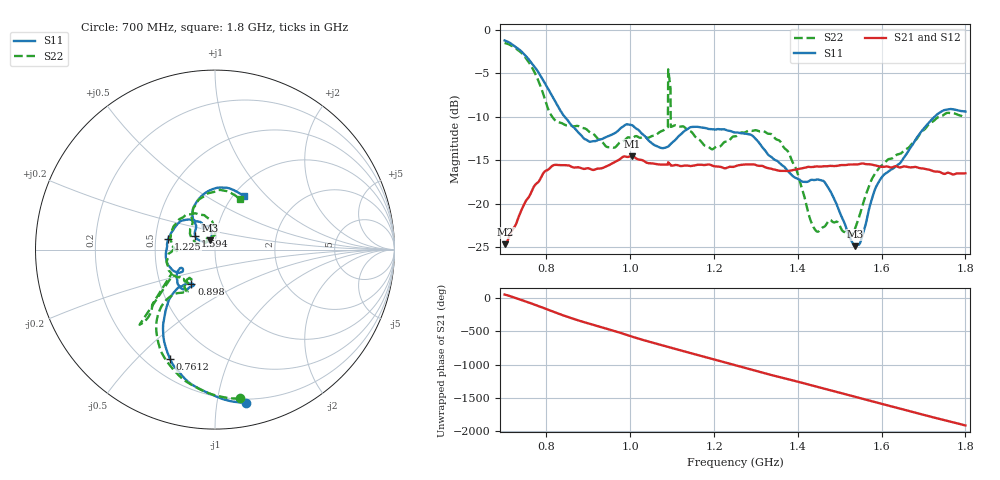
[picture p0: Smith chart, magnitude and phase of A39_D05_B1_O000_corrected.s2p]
! Created with skrf 1.9.0 (http://scikit-rf.org).
# Hz S RI R 50.0
!freq ReS11 ImS11 ReS21 ImS21 ReS12 ImS12 ReS22 ImS22
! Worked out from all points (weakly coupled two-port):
!   1601 points, 700 MHz to 1.8 GHz, reference 50 ohm
!   highest |S21| = -14.52 dB at 1.004 GHz (marker M1); lowest = -24.7 dB at 701.4 MHz (marker M2)
!   lowest |S11| = -24.9 dB at 1.537 GHz (marker M3), VSWR 1.12, Z = 47.2 + j4.81 ohm
!   |S11| at or under -10 dB: 843.5 MHz to 1.726 GHz (882.6 MHz wide, 68.7 % of centre)
!   |S22| runs from -23.8 to -1.5 dB; largest |S21 - S12| = 0.0034
!   S11 on the Smith chart (normalised r, x): 700 MHz: 0.17, -1.21; 761.2 MHz: 0.29, -0.63; 898 MHz: 0.72, -0.29; 1.225 GHz: 0.58, +0.08; 1.594 GHz: 0.79, +0.12; 1.8 GHz: 1.12, +0.75
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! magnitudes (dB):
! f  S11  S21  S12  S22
! 700 MHz  -1.2  -24.6  -24.4  -1.5
! 701.4 MHz  -1.2  -24.7  -24.3  -1.5
! 761.2 MHz  -3.6  -18.9  -18.8  -4.0
! 816.9 MHz  -7.9  -15.6  -15.7  -10.2
! 883.6 MHz  -12.2  -15.9  -15.8  -11.2
! 898 MHz  -12.7  -15.9  -16.0  -11.5
! 1.004 GHz  -11.0  -14.5  -14.7  -12.5
! 1.067 GHz  -13.5  -15.5  -15.4  -11.9
! 1.084 GHz  -13.5  -15.5  -15.5  -11.3
! 1.096 GHz  -13.2  -15.5  -15.5  -6.7
! 1.102 GHz  -12.9  -15.6  -15.5  -11.1
! 1.225 GHz  -11.4  -15.9  -15.9  -12.9
! 1.25 GHz  -11.8  -15.7  -15.6  -12.3
! 1.358 GHz  -15.4  -16.2  -16.2  -12.8
! 1.396 GHz  -17.0  -16.1  -16.0  -16.0
! 1.434 GHz  -17.2  -15.8  -15.7  -22.3
! 1.469 GHz  -17.9  -15.7  -15.7  -22.3
! 1.537 GHz  -24.9  -15.5  -15.5  -22.8
! 1.594 GHz  -17.4  -15.7  -15.7  -15.9
! 1.617 GHz  -16.3  -15.8  -15.7  -14.9
! 1.733 GHz  -9.7  -16.3  -16.3  -10.1
! 1.8 GHz  -9.4  -16.5  -16.5  -10.1
